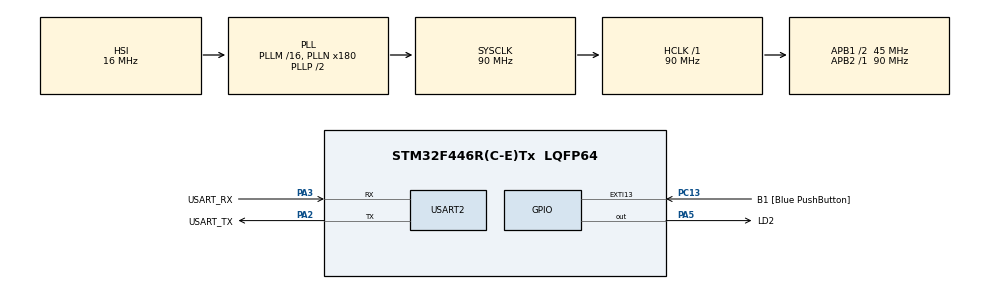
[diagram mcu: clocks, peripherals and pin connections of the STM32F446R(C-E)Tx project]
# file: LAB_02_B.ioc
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Mcu.Family=STM32F4
Mcu.Name=STM32F446R(C-E)Tx
Mcu.Package=LQFP64
NVIC.PriorityGroup=NVIC_PRIORITYGROUP_0
PA13.GPIO_Label=TMS
PA13.Mode=Serial_Wire
PA13.Signal=SYS_JTMS-SWDIO
PA14.GPIO_Label=TCK
PA14.Mode=Serial_Wire
PA14.Signal=SYS_JTCK-SWCLK
PA2.GPIO_Label=USART_TX
PA2.Mode=Asynchronous
PA2.Signal=USART2_TX
PA3.GPIO_Label=USART_RX
PA3.Mode=Asynchronous
PA3.Signal=USART2_RX
PA5.GPIO_Label=LD2
PA5.GPIO_Speed=GPIO_SPEED_FREQ_HIGH
PA5.Signal=GPIO_Output
PB3.GPIO_Label=SWO
PB3.Signal=SYS_JTDO-SWO
PC13.GPIO_Label=B1 [Blue PushButton]
PC13.GPIO_ModeDefaultEXTI=GPIO_MODE_IT_FALLING
PC13.Signal=GPXTI13
PC14-OSC32_IN.Mode=LSE-External-Oscillator
PC14-OSC32_IN.Signal=RCC_OSC32_IN
PC15-OSC32_OUT.Mode=LSE-External-Oscillator
PC15-OSC32_OUT.Signal=RCC_OSC32_OUT
PH0-OSC_IN.Mode=HSE-External-Oscillator
PH0-OSC_IN.Signal=RCC_OSC_IN
PH1-OSC_OUT.Mode=HSE-External-Oscillator
PH1-OSC_OUT.Signal=RCC_OSC_OUT
ProjectManager.HeapSize=0x200
ProjectManager.StackSize=0x400
ProjectManager.TargetToolchain=STM32CubeIDE
RCC.48MHZClocksFreq_Value=84000000
RCC.AHBFreq_Value=90000000
RCC.APB1CLKDivider=RCC_HCLK_DIV2
RCC.APB1Freq_Value=45000000
RCC.APB1TimFreq_Value=90000000
RCC.APB2Freq_Value=90000000
RCC.APB2TimFreq_Value=90000000
RCC.CortexFreq_Value=90000000
RCC.FLatency-AdvancedSettings=FLASH_LATENCY_2
RCC.HCLKFreq_Value=90000000
RCC.HSE_VALUE=8000000
RCC.HSI_VALUE=16000000
RCC.PLLN=180
RCC.SYSCLKFreq_VALUE=90000000
RCC.SYSCLKSource=RCC_SYSCLKSOURCE_PLLCLK
RCC.USBFreq_Value=90000000
RCC.VCOOutputFreq_Value=180000000
TIM6.AutoReloadPreload=TIM_AUTORELOAD_PRELOAD_ENABLE
TIM6.Prescaler=89
USART2.VirtualMode=VM_ASYNC
VP_TIM6_VS_ClockSourceINT.Mode=Enable_Timer
board=NUCLEO-F446RE

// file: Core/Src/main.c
/* USER CODE BEGIN Header */
/**
  ******************************************************************************
  * @file           : main.c
  * @brief          : Main program body
  ******************************************************************************
  * @attention
  *
  * Copyright (c) 2026 STMicroelectronics.
  * All rights reserved.
  *
  * This software is licensed under terms that can be found in the LICENSE file
  * in the root directory of this software component.
  * If no LICENSE file comes with this software, it is provided AS-IS.
  *
  ******************************************************************************
  */
/* USER CODE END Header */
#include "main.h"

/* USER CODE BEGIN Includes */
#include <stdio.h>
#include <string.h>
/* USER CODE END Includes */

TIM_HandleTypeDef htim6;

UART_HandleTypeDef huart2;

/* USER CODE BEGIN PV */
char msg[64];
/* USER CODE END PV */

void SystemClock_Config(void);
static void MX_GPIO_Init(void);
static void MX_TIM6_Init(void);
static void MX_USART2_UART_Init(void);

/* USER CODE BEGIN 0 */

void delay_us(uint32_t us)
{
    __HAL_TIM_SET_COUNTER(&htim6, 0);
    while (__HAL_TIM_GET_COUNTER(&htim6) < us);
}

void delay_ms(uint32_t ms)
{
    for (uint32_t i = 0; i < ms; i++) delay_us(1000);
}

void delay_s(uint32_t sec)
{
    for (uint32_t i = 0; i < sec; i++) delay_ms(1000);
}

void delay_hms(uint8_t h, uint8_t m, uint8_t s)
{
    uint32_t total = (uint32_t)h*3600 + (uint32_t)m*60 + s;
    delay_s(total);
}

void uart_print(const char *str)
{
    HAL_UART_Transmit(&huart2, (uint8_t*)str, strlen(str), HAL_MAX_DELAY);
}

/* USER CODE END 0 */

int main(void)
{

  /* MCU Configuration--------------------------------------------------------*/

  /* Reset of all peripherals, Initializes the Flash interface and the Systick. */
  HAL_Init();

  /* Configure the system clock */
  SystemClock_Config();

  /* Initialize all configured peripherals */
  MX_GPIO_Init();
  MX_TIM6_Init();
  MX_USART2_UART_Init();
  /* USER CODE BEGIN 2 */
  HAL_TIM_Base_Start(&htim6);

  /* 1. 500 ms delay */
  uart_print("1.Starting 500 ms Delay:\r\n");
  delay_ms(500);
  uart_print("Completed 500 ms Delay:\r\n");

  /* 2. 1000 ms delay */
  uart_print("2.Starting 1000 ms Delay:\r\n");
  delay_ms(1000);
  uart_print("Completed 1000 ms Delay:\r\n");

  /* 3. LED toggle x10 (5 on + 5 off) */
  int j = 1;
  for (int i = 1; i <= 5; i++) {
      sprintf(msg, "3.Toggle %d Status :On\r\n",  j++);
      uart_print(msg);
      HAL_GPIO_TogglePin(GPIOA, GPIO_PIN_5);
      delay_ms(250);

      sprintf(msg, "3.Toggle %d Status :Off\r\n", j++);
      uart_print(msg);
      HAL_GPIO_TogglePin(GPIOA, GPIO_PIN_5);
      delay_ms(250);
  }

  /* 4. 3 second delay */
  uart_print("4.Starting 3 sec Delay:\r\n");
  delay_s(3);
  uart_print("4.Completed 3 sec Delay:\r\n");

  /* 5. HMS delay */
  uart_print("5.Starting 0 H 0 M 5 sec Delay:\r\n");
  delay_hms(0, 0, 5);
  uart_print("5.Completed 0 H 0 M 5 sec Delay:\r\n");

  /* USER CODE END 2 */
  /* Infinite loop */
  while (1)
  {

  }
}

void SystemClock_Config(void)
{
  RCC_OscInitTypeDef RCC_OscInitStruct = {0};
  RCC_ClkInitTypeDef RCC_ClkInitStruct = {0};

  /** Configure the main internal regulator output voltage
  */
  __HAL_RCC_PWR_CLK_ENABLE();
  __HAL_PWR_VOLTAGESCALING_CONFIG(PWR_REGULATOR_VOLTAGE_SCALE3);

  /** Initializes the RCC Oscillators according to the specified parameters
  * in the RCC_OscInitTypeDef structure.
  */
  RCC_OscInitStruct.OscillatorType = RCC_OSCILLATORTYPE_HSI;
  RCC_OscInitStruct.HSIState = RCC_HSI_ON;
  RCC_OscInitStruct.HSICalibrationValue = RCC_HSICALIBRATION_DEFAULT;
  RCC_OscInitStruct.PLL.PLLState = RCC_PLL_ON;
  RCC_OscInitStruct.PLL.PLLSource = RCC_PLLSOURCE_HSI;
  RCC_OscInitStruct.PLL.PLLM = 16;
  RCC_OscInitStruct.PLL.PLLN = 180;
  RCC_OscInitStruct.PLL.PLLP = RCC_PLLP_DIV2;
  RCC_OscInitStruct.PLL.PLLQ = 2;
  RCC_OscInitStruct.PLL.PLLR = 2;
  if (HAL_RCC_OscConfig(&RCC_OscInitStruct) != HAL_OK)
  {
    Error_Handler();
  }

  /** Initializes the CPU, AHB and APB buses clocks
  */
  RCC_ClkInitStruct.ClockType = RCC_CLOCKTYPE_HCLK|RCC_CLOCKTYPE_SYSCLK
                              |RCC_CLOCKTYPE_PCLK1|RCC_CLOCKTYPE_PCLK2;
  RCC_ClkInitStruct.SYSCLKSource = RCC_SYSCLKSOURCE_PLLCLK;
  RCC_ClkInitStruct.AHBCLKDivider = RCC_SYSCLK_DIV1;
  RCC_ClkInitStruct.APB1CLKDivider = RCC_HCLK_DIV2;
  RCC_ClkInitStruct.APB2CLKDivider = RCC_HCLK_DIV1;

  if (HAL_RCC_ClockConfig(&RCC_ClkInitStruct, FLASH_LATENCY_2) != HAL_OK)
  {
    Error_Handler();
  }
}

static void MX_TIM6_Init(void)
{

  TIM_MasterConfigTypeDef sMasterConfig = {0};

  htim6.Instance = TIM6;
  htim6.Init.Prescaler = 89;
  htim6.Init.CounterMode = TIM_COUNTERMODE_UP;
  htim6.Init.Period = 65535;
  htim6.Init.AutoReloadPreload = TIM_AUTORELOAD_PRELOAD_ENABLE;
  if (HAL_TIM_Base_Init(&htim6) != HAL_OK)
  {
    Error_Handler();
  }
  sMasterConfig.MasterOutputTrigger = TIM_TRGO_RESET;
  sMasterConfig.MasterSlaveMode = TIM_MASTERSLAVEMODE_DISABLE;
  if (HAL_TIMEx_MasterConfigSynchronization(&htim6, &sMasterConfig) != HAL_OK)
  {
    Error_Handler();
  }

}

static void MX_USART2_UART_Init(void)
{

  huart2.Instance = USART2;
  huart2.Init.BaudRate = 115200;
  huart2.Init.WordLength = UART_WORDLENGTH_8B;
  huart2.Init.StopBits = UART_STOPBITS_1;
  huart2.Init.Parity = UART_PARITY_NONE;
  huart2.Init.Mode = UART_MODE_TX_RX;
  huart2.Init.HwFlowCtl = UART_HWCONTROL_NONE;
  huart2.Init.OverSampling = UART_OVERSAMPLING_16;
  if (HAL_UART_Init(&huart2) != HAL_OK)
  {
    Error_Handler();
  }

}

static void MX_GPIO_Init(void)
{
  GPIO_InitTypeDef GPIO_InitStruct = {0};

  /* GPIO Ports Clock Enable */
  __HAL_RCC_GPIOC_CLK_ENABLE();
  __HAL_RCC_GPIOH_CLK_ENABLE();
  __HAL_RCC_GPIOA_CLK_ENABLE();
  __HAL_RCC_GPIOB_CLK_ENABLE();

  /*Configure GPIO pin Output Level */
  HAL_GPIO_WritePin(LD2_GPIO_Port, LD2_Pin, GPIO_PIN_RESET);

  /*Configure GPIO pin : B1_Pin */
  GPIO_InitStruct.Pin = B1_Pin;
  GPIO_InitStruct.Mode = GPIO_MODE_IT_FALLING;
  GPIO_InitStruct.Pull = GPIO_NOPULL;
  HAL_GPIO_Init(B1_GPIO_Port, &GPIO_InitStruct);

  /*Configure GPIO pin : LD2_Pin */
  GPIO_InitStruct.Pin = LD2_Pin;
  GPIO_InitStruct.Mode = GPIO_MODE_OUTPUT_PP;
  GPIO_InitStruct.Pull = GPIO_NOPULL;
  GPIO_InitStruct.Speed = GPIO_SPEED_FREQ_HIGH;
  HAL_GPIO_Init(LD2_GPIO_Port, &GPIO_InitStruct);

}

void Error_Handler(void)
{
  __disable_irq();
  while (1)
  {
  }
}
